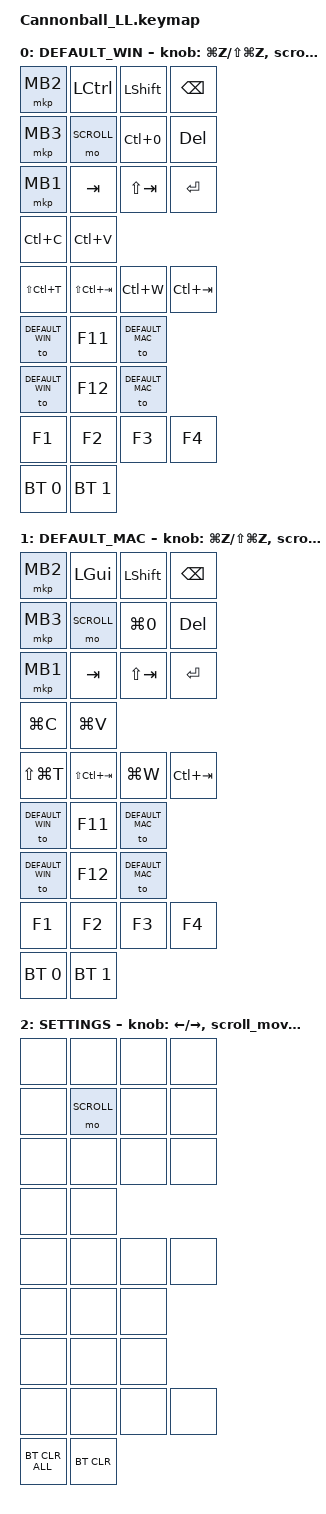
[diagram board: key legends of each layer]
#include <behaviors.dtsi>
#include <dt-bindings/zmk/bt.h>
#include <dt-bindings/zmk/keys.h>
#include <dt-bindings/zmk/pointing.h>
#include <dt-bindings/zmk/input_transform.h>

#define DEFAULT_WIN 0
#define DEFAULT_MAC 1
#define SCROLL 2

#define ZMK_POINTING_DEFAULT_SCRL_VAL 80  // スクロール量最大値変更

/ {
    /* Behaviors */
    // スクロール設定
    msc {
        acceleration-exponent = <0>;      // 0
        time-to-max-speed-ms = <200>;     // 300
        delay-ms = <5>;                   // 10
    };
    behaviors {
        // エンコーダー：キー
        rot_kp: sensor_rotate_kp {
            compatible = "zmk,behavior-sensor-rotate-var";
            #sensor-binding-cells = <2>;
            bindings = <&kp>, <&kp>;
        };

        // エンコーダー：マウススクロール 
        rot_msc: sensor_rotate_msc {
             compatible = "zmk,behavior-sensor-rotate-var";
             #sensor-binding-cells = <2>;
             tap-ms = <20>;
             bindings = <&msc>, <&msc>;
        };

        // エンコーダー：マウススクロール(MOVE_Y)
        // 1ノッチ分で画面の約半分スクロールに調整
        scroll_move_y: sensor_rotate_msc_for_move_y {
            compatible = "zmk,behavior-sensor-rotate";
            #sensor-binding-cells = <0>;
            bindings = <&msc MOVE_Y(47)>, <&msc MOVE_Y(-47)>;
            // tap-ms下限メモ Yの値で可変: Y(15) <81>, Y(20) <65>, Y(25) <49>
            tap-ms = <65>;
        };

        // エンコーダー：マウススクロール(MOVE_X)
        scroll_move_x: sensor_rotate_msc_for_move_x {
            compatible = "zmk,behavior-sensor-rotate";
            #sensor-binding-cells = <0>;
            bindings = <&msc MOVE_X(20)>, <&msc MOVE_X(-20)>;
            // tap-ms下限メモ Xの値で可変: X(15) <81>, X(20) <65>, X(25) <49>
            tap-ms = <65>;
        };
    };

    /* キーマップ */
    keymap {
        compatible = "zmk,keymap";

        // WINDOWS用
    	DEFAULT_WIN {
            bindings = <
                // Key  各キー（ホイールの場合は押し込み）ツマミを左にして横向けた配置と一致
                // 1段目・2段目は押しやすい、3・4段目は押しにくい
                &mkp MB2   &kp LCTRL   &kp LSHFT    &kp BSPC
                &mkp MB3   &mo SCROLL &kp LC(N0)   &kp DEL
                &mkp MB1   &kp TAB    &kp LS(TAB)  &kp RET

                // Mouse　マウスボタン　左、右
                // 少し遠くて押しにくい
                &kp LC(C) &kp LC(V)

                // Stick  ツマミの十字スイッチ　上、右、下、左の順
                // 下は押しやすい、上はそこそこ、左右は押しにくい
                &kp LS(LC(T)) &kp LS(LC(TAB)) &kp LC(W) &kp LC(TAB)

                // Lever　レバーボタン　左、押し込み、右
                // かなり遠くて押しにくい
                &to DEFAULT_WIN &kp F11 &to DEFAULT_MAC
                &to DEFAULT_WIN &kp F12 &to DEFAULT_MAC

                // Side　サイドボタン　左上、左下、右上、右下の順
                // 押しやすいが固い
                // 上2つよりは下2つのほうが押しやすい
                &kp F1 &kp F2 &kp F3 &kp F4

                // Back　背面ボタン　左（ツマミに近い方）、右
                // 言うまでもなく押しにくい
                &bt BT_SEL 0 &bt BT_SEL 1
    	    >;
            // 各種エンコーダ ツマミ反時計・時計回り、上ホイール下・上、下ホイール右・左
            sensor-bindings = <&rot_kp LG(Z) LS(LG(Z))>, <&scroll_move_y>, <&rot_kp LG(PLUS) LG(MINUS)>;
    	};

        // MacOS用
    	DEFAULT_MAC {
            bindings = <
                // Key
                &mkp MB2   &kp LGUI   &kp LSHFT    &kp BSPC
                &mkp MB3   &mo SCROLL &kp LG(N0)   &kp DEL
                &mkp MB1   &kp TAB    &kp LS(TAB)  &kp RET
                // Mouse
                &kp LG(C) &kp LG(V)
                // Stick
                &kp LS(LG(T)) &kp LS(LC(TAB)) &kp LG(W) &kp LC(TAB)
                // Lever
                &to DEFAULT_WIN &kp F11 &to DEFAULT_MAC
                &to DEFAULT_WIN &kp F12 &to DEFAULT_MAC
                // Side
                &kp F1 &kp F2 &kp F3 &kp F4
                // Back
                &bt BT_SEL 0 &bt BT_SEL 1
    	    >;
            sensor-bindings = <&rot_kp LG(Z) LS(LG(Z))>, <&scroll_move_y>, <&rot_kp LG(PLUS) LG(MINUS)>;
    	};

        // BT設定、スクロールレイヤー
        SETTINGS {
            bindings = <
                // Key
                &none &none &none &none
                &none &mo SCROLL &none &none
                &none &none &none &none
                // Mouse
                &none &none
                // Stick
                &none &none &none &none
                // Lever
                &none &none &none
                &none &none &none
                // Side
                &none &none &none &none
                // Back
                &bt BT_CLR_ALL &bt BT_CLR
    	    >;
            sensor-bindings = <&rot_kp LEFT RIGHT>, <&scroll_move_y>, <&scroll_move_x>;
    	};
    };
};
